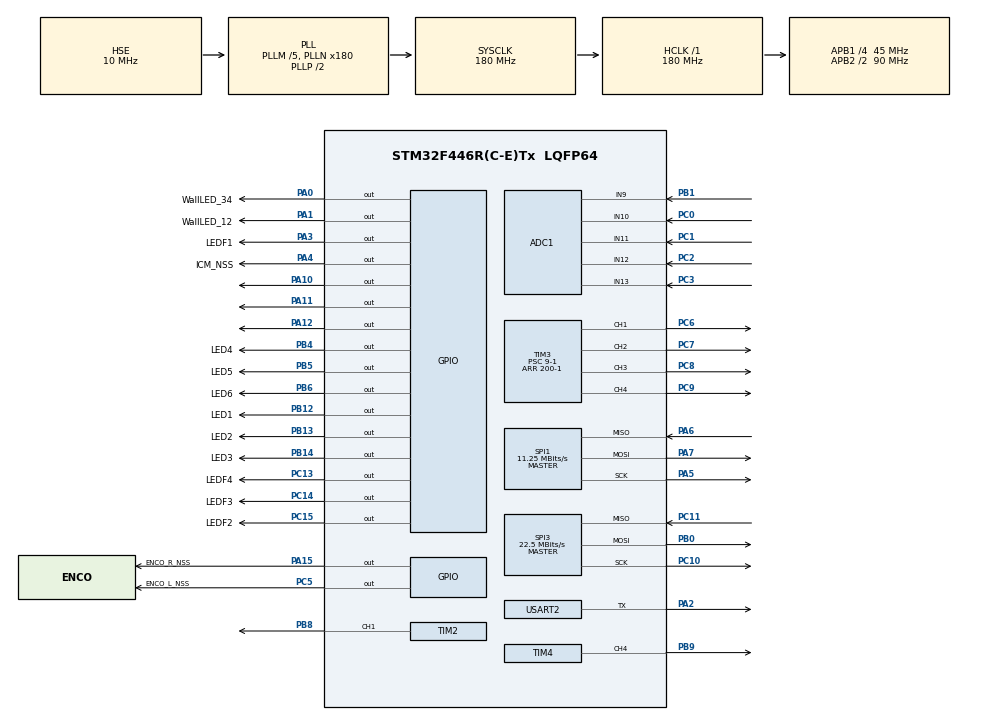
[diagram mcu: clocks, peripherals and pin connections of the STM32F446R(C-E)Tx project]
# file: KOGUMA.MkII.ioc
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ADC1.Channel-4\#ChannelRegularConversion=ADC_CHANNEL_9
ADC1.Channel-5\#ChannelRegularConversion=ADC_CHANNEL_10
ADC1.Channel-6\#ChannelRegularConversion=ADC_CHANNEL_11
ADC1.Channel-7\#ChannelRegularConversion=ADC_CHANNEL_12
ADC1.Channel-8\#ChannelRegularConversion=ADC_CHANNEL_13
ADC1.ClockPrescaler=ADC_CLOCK_SYNC_PCLK_DIV8
ADC1.ContinuousConvMode=ENABLE
ADC1.DMAContinuousRequests=ENABLE
ADC1.NbrOfConversion=5
ADC1.NbrOfConversionFlag=1
ADC1.Rank-4\#ChannelRegularConversion=1
ADC1.Rank-5\#ChannelRegularConversion=2
ADC1.Rank-6\#ChannelRegularConversion=3
ADC1.Rank-7\#ChannelRegularConversion=4
ADC1.Rank-8\#ChannelRegularConversion=5
ADC1.SamplingTime-4\#ChannelRegularConversion=ADC_SAMPLETIME_3CYCLES
ADC1.SamplingTime-5\#ChannelRegularConversion=ADC_SAMPLETIME_3CYCLES
ADC1.SamplingTime-6\#ChannelRegularConversion=ADC_SAMPLETIME_3CYCLES
ADC1.SamplingTime-7\#ChannelRegularConversion=ADC_SAMPLETIME_3CYCLES
ADC1.SamplingTime-8\#ChannelRegularConversion=ADC_SAMPLETIME_3CYCLES
ADC1.ScanConvMode=ENABLE
ADC1.master=1
Dma.ADC1.0.Direction=DMA_PERIPH_TO_MEMORY
Dma.ADC1.0.FIFOMode=DMA_FIFOMODE_DISABLE
Dma.ADC1.0.Instance=DMA2_Stream0
Dma.ADC1.0.MemDataAlignment=DMA_MDATAALIGN_HALFWORD
Dma.ADC1.0.MemInc=DMA_MINC_ENABLE
Dma.ADC1.0.Mode=DMA_NORMAL
Dma.ADC1.0.PeriphDataAlignment=DMA_PDATAALIGN_HALFWORD
Dma.ADC1.0.PeriphInc=DMA_PINC_DISABLE
Dma.ADC1.0.Priority=DMA_PRIORITY_LOW
Dma.Request0=ADC1
Mcu.Family=STM32F4
Mcu.Name=STM32F446R(C-E)Tx
Mcu.Package=LQFP64
NVIC.DMA2_Stream0_IRQn=true\:0\:0\:false\:false\:true\:false\:true\:true
NVIC.PriorityGroup=NVIC_PRIORITYGROUP_4
NVIC.TIM6_DAC_IRQn=true\:0\:0\:false\:false\:true\:true\:true\:true
PA0-WKUP.GPIO_Label=WallLED_34
PA0-WKUP.Signal=GPIO_Output
PA1.GPIO_Label=WallLED_12
PA1.Signal=GPIO_Output
PA10.Signal=GPIO_Output
PA11.Signal=GPIO_Output
PA12.Signal=GPIO_Output
PA13.Signal=SYS_JTMS-SWDIO
PA14.Signal=SYS_JTCK-SWCLK
PA15.GPIO_Label=ENCO_R_NSS
PA15.Signal=GPIO_Output
PA2.Mode=Half_duplex(single_wire_mode)
PA2.Signal=USART2_TX
PA3.GPIO_Label=LEDF1
PA3.Signal=GPIO_Output
PA4.GPIO_Label=ICM_NSS
PA4.Signal=GPIO_Output
PA5.Mode=Full_Duplex_Master
PA5.Signal=SPI1_SCK
PA6.Mode=Full_Duplex_Master
PA6.Signal=SPI1_MISO
PA7.Mode=Full_Duplex_Master
PA7.Signal=SPI1_MOSI
PB0.Mode=Full_Duplex_Master
PB0.Signal=SPI3_MOSI
PB1.Signal=ADCx_IN9
PB12.GPIO_Label=LED1
PB12.Signal=GPIO_Output
PB13.GPIO_Label=LED2
PB13.Signal=GPIO_Output
PB14.GPIO_Label=LED3
PB14.Signal=GPIO_Output
PB4.GPIO_Label=LED4
PB4.Signal=GPIO_Output
PB5.GPIO_Label=LED5
PB5.Signal=GPIO_Output
PB6.GPIO_Label=LED6
PB6.Signal=GPIO_Output
PB8.Signal=S_TIM2_CH1_ETR
PB9.Signal=S_TIM4_CH4
PC0.Signal=ADCx_IN10
PC1.Signal=ADCx_IN11
PC10.Mode=Full_Duplex_Master
PC10.Signal=SPI3_SCK
PC11.Mode=Full_Duplex_Master
PC11.Signal=SPI3_MISO
PC13.GPIO_Label=LEDF4
PC13.Signal=GPIO_Output
PC14-OSC32_IN.GPIO_Label=LEDF3
PC14-OSC32_IN.Signal=GPIO_Output
PC15-OSC32_OUT.GPIO_Label=LEDF2
PC15-OSC32_OUT.Signal=GPIO_Output
PC2.Signal=ADCx_IN12
PC3.Signal=ADCx_IN13
PC5.GPIO_Label=ENCO_L_NSS
PC5.Signal=GPIO_Output
PC6.Signal=S_TIM3_CH1
PC7.Signal=S_TIM3_CH2
PC8.Signal=S_TIM3_CH3
PC9.Signal=S_TIM3_CH4
PH0-OSC_IN.Mode=HSE-External-Oscillator
PH0-OSC_IN.Signal=RCC_OSC_IN
PH1-OSC_OUT.Mode=HSE-External-Oscillator
PH1-OSC_OUT.Signal=RCC_OSC_OUT
ProjectManager.HeapSize=0x200
ProjectManager.StackSize=0x400
ProjectManager.TargetToolchain=STM32CubeIDE
RCC.AHBFreq_Value=180000000
RCC.APB1CLKDivider=RCC_HCLK_DIV4
RCC.APB1Freq_Value=45000000
RCC.APB1TimFreq_Value=90000000
RCC.APB2CLKDivider=RCC_HCLK_DIV2
RCC.APB2Freq_Value=90000000
RCC.APB2TimFreq_Value=180000000
RCC.CortexFreq_Value=180000000
RCC.HCLKFreq_Value=180000000
RCC.HSE_VALUE=10000000
RCC.PLLM=5
RCC.PLLN=180
RCC.PLLSourceVirtual=RCC_PLLSOURCE_HSE
RCC.SYSCLKFreq_VALUE=180000000
RCC.SYSCLKSource=RCC_SYSCLKSOURCE_PLLCLK
RCC.USBFreq_Value=180000000
RCC.VCOOutputFreq_Value=360000000
SH.ADCx_IN10.0=ADC1_IN10,IN10
SH.ADCx_IN11.0=ADC1_IN11,IN11
SH.ADCx_IN12.0=ADC1_IN12,IN12
SH.ADCx_IN13.0=ADC1_IN13,IN13
SH.ADCx_IN9.0=ADC1_IN9,IN9
SH.S_TIM2_CH1_ETR.0=TIM2_CH1,PWM Generation1 CH1
SH.S_TIM3_CH1.0=TIM3_CH1,PWM Generation1 CH1
SH.S_TIM3_CH2.0=TIM3_CH2,PWM Generation2 CH2
SH.S_TIM3_CH3.0=TIM3_CH3,PWM Generation3 CH3
SH.S_TIM3_CH4.0=TIM3_CH4,PWM Generation4 CH4
SH.S_TIM4_CH4.0=TIM4_CH4,PWM Generation4 CH4
SPI1.BaudRatePrescaler=SPI_BAUDRATEPRESCALER_8
SPI1.CLKPhase=SPI_PHASE_2EDGE
SPI1.CLKPolarity=SPI_POLARITY_HIGH
SPI1.CalculateBaudRate=11.25 MBits/s
SPI1.Direction=SPI_DIRECTION_2LINES
SPI1.Mode=SPI_MODE_MASTER
SPI1.VirtualType=VM_MASTER
SPI3.CLKPhase=SPI_PHASE_2EDGE
SPI3.CLKPolarity=SPI_POLARITY_HIGH
SPI3.CalculateBaudRate=22.5 MBits/s
SPI3.Direction=SPI_DIRECTION_2LINES
SPI3.Mode=SPI_MODE_MASTER
SPI3.VirtualNSS=VM_NSSHARD
SPI3.VirtualType=VM_MASTER
TIM2.Channel-PWM\ Generation1\ CH1=TIM_CHANNEL_1
TIM2.Period=100-1
TIM2.Prescaler=180-1
TIM2.Pulse-PWM\ Generation1\ CH1=15
TIM3.Channel-PWM\ Generation1\ CH1=TIM_CHANNEL_1
TIM3.Channel-PWM\ Generation2\ CH2=TIM_CHANNEL_2
TIM3.Channel-PWM\ Generation3\ CH3=TIM_CHANNEL_3
TIM3.Channel-PWM\ Generation4\ CH4=TIM_CHANNEL_4
TIM3.Period=200-1
TIM3.Prescaler=9-1
TIM4.Channel-PWM\ Generation4\ CH4=TIM_CHANNEL_4
TIM4.Period=100-1
TIM4.Prescaler=90-1
TIM6.AutoReloadPreload=TIM_AUTORELOAD_PRELOAD_ENABLE
TIM6.Period=1000-1
TIM6.Prescaler=90-1
TIM6.TIM_MasterOutputTrigger=TIM_TRGO_UPDATE
USART2.Mode=MODE_TX
USART2.VirtualMode=VM_ASYNC
VP_TIM6_VS_ClockSourceINT.Mode=Enable_Timer
board=custom

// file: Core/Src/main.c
/* USER CODE BEGIN Header */
/**
 ******************************************************************************
 * @file           : main.c
 * @brief          : Main program body
 ******************************************************************************
 * @attention
 *
 * Copyright (c) 2025 STMicroelectronics.
 * All rights reserved.
 *
 * This software is licensed under terms that can be found in the LICENSE file
 * in the root directory of this software component.
 * If no LICENSE file comes with this software, it is provided AS-IS.
 *
 ******************************************************************************
 */
/* USER CODE END Header */
#include "main.h"
#include "adc.h"
#include "dma.h"
#include "spi.h"
#include "tim.h"
#include "usart.h"
#include "gpio.h"

/* USER CODE BEGIN Includes */
#include "lsm6dsr.h"
#include "motor.h"
#include "PL_encoder.h"
#include "PL_timer.h"
#include "Motor.h"
#include "LOG.h"
#include "PL_sensor.h"
#include "UI.h"
#include "Wallsensor.h"
#include "Maze.h"
#include "Move.h"
#include "Failsafe.h"
#include "Define.h"
/* USER CODE END Includes */

void SystemClock_Config(void);

int main(void) {

	/* MCU Configuration--------------------------------------------------------*/

	/* Reset of all peripherals, Initializes the Flash interface and the Systick. */
	HAL_Init();

	/* Configure the system clock */
	SystemClock_Config();

	/* Initialize all configured peripherals */
	MX_GPIO_Init();
	MX_DMA_Init();
	MX_ADC1_Init();
	MX_SPI1_Init();
	MX_SPI3_Init();
	MX_TIM2_Init();
	MX_TIM3_Init();
	MX_TIM4_Init();
	MX_USART2_UART_Init();
	MX_TIM6_Init();
	/* USER CODE BEGIN 2 */

	//HAL_TIM_Base_Start_IT(&htim6);
	pl_timer_init();
	lsm6dsr_init();
	Maze_Initialization();
	if (g_V_batt < LIMITBATT) {
		while (1) {
			LED_Reset();
			HAL_Delay(500);
			LED_ALL_ON();
			HAL_Delay(500);
		}
	}

	LED_Setup_Robot();

//
	HAL_TIM_PWM_Start(&htim4, TIM_CHANNEL_4); //buzeer
//
//	HAL_TIM_PWM_Start(&htim2, TIM_CHANNEL_1);

	/* USER CODE END 2 */

	/* Infinite loop */
	while (1) {

		/* USER CODE BEGIN 3 */

		LED_program_number(Encorder_number_out());
		LED_program_mode(Encorder_mode_out());
		Maze_Unkown_ALL_ModeOFF();
		Motor_Setup_Voltage();
		if (Encorder_mode_out() == 0) {		//大会用
			if (Encorder_number_out() == 0) {		//
				/////////////////////////////
			} else if (Encorder_number_out() == 1) {		//探索
				if (Sensor_Enter() == 1) {
					Buzzer_Enter();
					Sensor_Start();

					Motor_Setup();
					Motor_Stop();

					G_Gool_X = MAZE_GOOL_X;
					G_Gool_Y = MAZE_GOOL_Y;
					G_Robot_MAZE_X = 0;
					G_Robot_MAZE_Y = 0;
					G_Robot_Direction = 0;
					G_MAZE_Explored[G_Gool_X][G_Gool_Y] = 0;

					Motor_trapezoid_PID(0, 500, 500, 5000, 24 + 90);
					while (G_MAZE_Explored[G_Gool_X][G_Gool_Y] == 0) {
						if (Failsafe_Flag() == 1) {
							break;
						}
						Robot_Maze_Sula_Action();
						//Robot_Maze_Pass_Action();
						G_MAZE_Explored[G_Robot_MAZE_X][G_Robot_MAZE_Y] = 1;
					}
					Maze_Save();

					Maze_Unkown_ALL_ModeSet();

					G_Gool_X = 0;
					G_Gool_Y = 0;
					G_MAZE_Explored[G_Gool_X][G_Gool_Y] = 0;
					Maze_Step_Calculate();
					while (G_MAZE_Explored[G_Gool_X][G_Gool_Y] == 0) {
						if (Failsafe_Flag() == 1) {
							break;
						}
						Robot_Maze_Sula_Action();
						//Robot_Maze_Pass_Action();
						G_MAZE_Explored[G_Robot_MAZE_X][G_Robot_MAZE_Y] = 1;
					}
					Motor_Stop();
					if (Failsafe_Flag() == 0) {
						Maze_Save();
					} else {
						Failsafe_Flag_OFF();
					}
					Motor_Free();
					LED_Reset();
					Encorder_count_reset();

				}
			} else if (Encorder_number_out() == 2) {		//
				if (Sensor_Enter() == 1) {
					Buzzer_Enter();
					Sensor_Start();

					Motor_Setup();
					Motor_Stop();

					G_Gool_X = MAZE_GOOL_X;
					G_Gool_Y = MAZE_GOOL_Y;
					G_Robot_MAZE_X = 0;
					G_Robot_MAZE_Y = 0;
					G_Robot_Direction = 0;
					G_MAZE_Explored[G_Gool_X][G_Gool_Y] = 0;

					Motor_trapezoid_PID(0, 500, 500, 5000, 24 + 90);
					while (G_MAZE_Explored[G_Gool_X][G_Gool_Y] == 0) {
						if (Failsafe_Flag() == 1) {
							break;
						}
						Robot_Maze_Sula_Action();
						//Robot_Maze_Pass_Action();
						G_MAZE_Explored[G_Robot_MAZE_X][G_Robot_MAZE_Y] = 1;
					}
					Maze_Save();

					//Maze_Unkown_ALL_ModeSet();

					G_Gool_X = 0;
					G_Gool_Y = 0;
					G_MAZE_Explored[G_Gool_X][G_Gool_Y] = 0;
					Maze_Step_Calculate();
					while (G_MAZE_Explored[G_Gool_X][G_Gool_Y] == 0) {
						if (Failsafe_Flag() == 1) {
							break;
						}
						Robot_Maze_Sula_Action();
						//Robot_Maze_Pass_Action();
						G_MAZE_Explored[G_Robot_MAZE_X][G_Robot_MAZE_Y] = 1;
					}
					Motor_Stop();

					if (Failsafe_Flag() == 0) {
						Maze_Save();
					} else {
						Failsafe_Flag_OFF();
					}

					Motor_Setup();
					Motor_Stop();
					if (Failsafe_Flag() == 0) {
						Maze_Save();
					} else {
						Failsafe_Flag_OFF();
					}
					Motor_Free();
					LED_Reset();
					Encorder_count_reset();

//					Short_NANAME_Move1000(5000, 15000);
//
//					Motor_Free();
//					LED_Reset();
//					Encorder_count_reset();
				}
			} else if (Encorder_number_out() == 3) {		//1m吸?��?
				if (Sensor_Enter() == 1) {
					Buzzer_Enter();
					Sensor_Start();

					Motor_Setup();
					Motor_Stop();
					Short_NANAME_Move1000(5000, 15000);
					Motor_Free();
					LED_Reset();
					HAL_Delay(500);
					Encorder_count_reset();

				}
			} else if (Encorder_number_out() == 4) {		//
				if (Sensor_Enter() == 1) {
					Buzzer_Enter();
					Sensor_Start();

					Motor_Setup();
					Motor_Stop();
					Short_NANAME_Move2000(5000, 20000);
					Motor_Free();
					LED_Reset();
					HAL_Delay(500);
					Encorder_count_reset();
				}
			} else if (Encorder_number_out() == 5) {		//
				if (Sensor_Enter() == 1) {
					Buzzer_Enter();
					Sensor_Start();

					Motor_Setup();
					Motor_Stop();
					Short_NANAME_Move2000(5000, 25000);
					//Short_Dijkstra_Move2000(5500, 20000);
					Motor_Free();
					LED_Reset();
					HAL_Delay(500);
					Encorder_count_reset();
				}
			} else if (Encorder_number_out() == 6) {		//
				if (Sensor_Enter() == 1) {
					Buzzer_Enter();
					Sensor_Start();

					Motor_Setup();
					Motor_Stop();
					Short_NANAME_Move2400(5000, 20000);
					Motor_Free();
					LED_Reset();
					HAL_Delay(500);
					Encorder_count_reset();
				}
			} else if (Encorder_number_out() == 7) {		//
				if (Sensor_Enter() == 1) {
					Buzzer_Enter();
					Sensor_Start();

					Motor_Setup();
					Motor_Stop();
					Short_NANAME_Move2400(5000, 30000);
					Motor_Free();
					LED_Reset();
					HAL_Delay(500);
					Encorder_count_reset();
				}
			}
		} else if (Encorder_mode_out() == 1) {				//基本調整
			if (Encorder_number_out() == 0) {		//センサ
				Wall_search_LED();
//				__HAL_TIM_SET_COMPARE(&htim2, TIM_CHANNEL_1, 50);
//				__HAL_TIM_SET_AUTORELOAD(&htim2, 100);
//				HAL_TIM_PWM_Start(&htim2, TIM_CHANNEL_1);
//				printf("FL = %4d //", g_sensor_av[0]);
//				printf(" L = %4d //", g_sensor_av[2]);
//				printf(" R = %4d //", g_sensor_av[1]);
//				printf("FR = %4d //", g_sensor_av[3]);
				printf("FL = %4d //", g_sensor[0][0]);
				printf(" L = %4d //", g_sensor[2][0]);
				printf(" R = %4d //", g_sensor[1][0]);
				printf("FR = %4d //", g_sensor[3][0]);
				printf("BATT = %.2f//", g_V_batt);
				printf("GyroZ = %.3f\n\r", read_NoiseCut_gyro_z());
			} else if (Encorder_number_out() == 1) {		//直進
				if (Sensor_Enter() == 1) {
					Buzzer_Enter();
					Sensor_Start();
					///
					Motor_Setup();
					//Suction_Start(50);
					LOG_get_start();
//					Motor_trapezoid_PID(0, 2000, 2000, 60000, 24);
//					Motor_trapezoid_PID(2000, 2000, 0, 35000, 90);
					Motor_trapezoid_PID(0, 1000, 0, 8000, 180 * 15);
					Motor_Stop();
					Suction_Stop();
					LOG_get_end();
					///
					//Motor_trapezoid_PID(0, 6000, 0, 50000, 180 * 4);
					Encorder_count_reset();
				}
			} else if (Encorder_number_out() == 2) {		//??��?��?シン??��?��?
				if (Sensor_Enter() == 1) {
					Buzzer_Enter();
					Sensor_Start();
					///
					Motor_Setup();
//					for (int i = 0; i < 20; i++) {
//						Motor_trapezoid_Turn(90, 600, 20000);
//						Motor_Stop();
//					}
					Motor_trapezoid_Turn(3600, 600, 20000);
					///

					Encorder_count_reset();
				}
			} else if (Encorder_number_out() == 3) {		//スラロー??��?��?
				if (Sensor_Enter() == 1) {
					Buzzer_Enter();
					Sensor_Start();
					//
					Motor_Setup();
					Motor_trapezoid_PID(0, 500, 500, 5000, 90 + 180 + 29);
					Motor_Sula_COS(500, 90, 600, 10000);
					Motor_trapezoid(500, 500, 0, 5000, 180 + 20);
					Motor_Stop();
					//
					Encorder_count_reset();
				}
			} else if (Encorder_number_out() == 4) {		//斜め
				if (Sensor_Enter() == 1) {
					Buzzer_Enter();
					Sensor_Start();

					Motor_Setup();
					Motor_NANAME_PID(0, 2000, 0, 5000, 127.3 * 6);
					Motor_Stop();

					Encorder_count_reset();
				}
			} else if (Encorder_number_out() == 5) {		//吸??��?��?
				if (Sensor_Enter() == 1) {
					Buzzer_Enter();
					Sensor_Start();
					__HAL_TIM_SET_COMPARE(&htim2, TIM_CHANNEL_1, 90);
					__HAL_TIM_SET_AUTORELOAD(&htim2, 100);
					HAL_TIM_PWM_Start(&htim2, TIM_CHANNEL_1);
					while (1) {
						if (Sensor_Enter() == 1) {
							break;
						}
					}
					HAL_TIM_PWM_Stop(&htim2, TIM_CHANNEL_1);

				}
			} else if (Encorder_number_out() == 6) {		//壁合わせ
				if (Sensor_Enter() == 1) {
					Buzzer_Enter();
					Sensor_Start();

					Motor_Setup();
					Motor_Robot_Alignment();
					Motor_Stop();

					Encorder_count_reset();
				}
			} else if (Encorder_number_out() == 7) {		//
				if (Sensor_Enter() == 1) {
					Buzzer_Enter();
					Sensor_Start();

					LOG_print();
					HAL_Delay(1000);

				}
			}
		} else if (Encorder_mode_out() == 2) {			//1m??��?��?低吸??��?��?
			if (Encorder_number_out() == 1) {		//90
				if (Sensor_Enter() == 1) {
					Buzzer_Enter();
					Sensor_Start();

					Motor_Setup();
					Suction_Start(15);

					HAL_Delay(1000);
					LOG_get_start();
					Motor_trapezoid_PID(0, 1000, 1000, 15000, 90 + 90);
					//Motor_trapezoid_PID(1000, 1000, 1000, 15000, 50);
					Motor_Wallcut_ST(1000, 48, 0);
					Motor_Sula_COS(1000, 88, 600, 10000);
					Motor_trapezoid(1000, 1000, 1000, 15000, 35);
					Motor_trapezoid(1000, 1000, 0, 15000, 180);

					Motor_Stop();

					HAL_Delay(500);
					Suction_Stop();
					LOG_get_end();

					Encorder_count_reset();

				}
			} else if (Encorder_number_out() == 2) {		//180
				if (Sensor_Enter() == 1) {
					Buzzer_Enter();
					Sensor_Start();

					Motor_Setup();
					Suction_Start(15);

					HAL_Delay(1000);
					LOG_get_start();
					Motor_trapezoid_PID(0, 1000, 1000, 15000, 90 + 90);
					Motor_trapezoid_PID(1000, 1000, 1000, 15000, 60);
					//Motor_Wallcut_ST(1000, 60, 0);
					Motor_Sula_COS(1000, 179, 650, 13000);
					Motor_trapezoid(1000, 1000, 1000, 15000, 40);
					Motor_trapezoid(1000, 1000, 0, 15000, 180);

					Motor_Stop();
					HAL_Delay(500);
					Suction_Stop();
					LOG_get_end();

					Encorder_count_reset();
				}
			} else if (Encorder_number_out() == 3) {		//in45
				if (Sensor_Enter() == 1) {
					Buzzer_Enter();
					Sensor_Start();

					Motor_Setup();
					Suction_Start(15);

					HAL_Delay(1000);
					LOG_get_start();
					Motor_trapezoid_PID(0, 1000, 1000, 15000, 90 + 90);
					Motor_trapezoid_PID(1000, 1000, 1000, 15000, 15);
					Motor_Sula_COS(1000, 44, 750, 10000);
					Motor_trapezoid(1000, 1000, 1000, 15000, 42);
					Motor_trapezoid(1000, 1000, 0, 15000, 127.3);

					Motor_Stop();
					HAL_Delay(500);
					Suction_Stop();
					LOG_get_end();

					Encorder_count_reset();
				}
			} else if (Encorder_number_out() == 4) {		//in135
				if (Sensor_Enter() == 1) {
					Buzzer_Enter();
					Sensor_Start();

					Motor_Setup();
					Suction_Start(15);

					HAL_Delay(1000);
					LOG_get_start();
					Motor_trapezoid_PID(0, 1000, 1000, 15000, 90 + 90);
					Motor_trapezoid_PID(1000, 1000, 1000, 15000, 38);
					Motor_Sula_COS(1000, 134, 800, 10000);
					Motor_trapezoid(1000, 1000, 1000, 15000, 8);
					Motor_trapezoid(1000, 1000, 0, 15000, 127.3);

					Motor_Stop();
					HAL_Delay(500);
					Suction_Stop();
					LOG_get_end();

					Encorder_count_reset();
				}
			} else if (Encorder_number_out() == 5) {		//out45
				if (Sensor_Enter() == 1) {
					Buzzer_Enter();
					Sensor_Start();

					Motor_Setup();
					Suction_Start(15);

					HAL_Delay(1000);
					LOG_get_start();
					Motor_trapezoid(0, 1000, 1000, 10000, 127.3);
					Motor_trapezoid(1000, 1000, 1000, 5000, 73);
					Motor_Sula_COS(1000, 41.5, 700, 20000);
					Motor_trapezoid(1000, 1000, 1000, 5000, 30);
					Motor_trapezoid(1000, 1000, 0, 10000, 180);

					Motor_Stop();
					HAL_Delay(500);
					Suction_Stop();
					LOG_get_end();

					Encorder_count_reset();
				}
			} else if (Encorder_number_out() == 6) {		//out135
				if (Sensor_Enter() == 1) {
					Buzzer_Enter();
					Sensor_Start();

					Motor_Setup();
					Suction_Start(15);

					HAL_Delay(1000);
					LOG_get_start();
					Motor_trapezoid(0, 1000, 1000, 10000, 127.3);
					Motor_trapezoid(1000, 1000, 1000, 5000, 25);
					Motor_Sula_COS(1000, 132, 700, 14000);
					Motor_trapezoid(1000, 1000, 1000, 5000, 25);
					Motor_trapezoid(1000, 1000, 0, 10000, 180);

					Motor_Stop();
					HAL_Delay(500);
					Suction_Stop();
					LOG_get_end();

					Encorder_count_reset();
				}
			} else if (Encorder_number_out() == 7) {		//V90
				if (Sensor_Enter() == 1) {
					Buzzer_Enter();
					Sensor_Start();

					Motor_Setup();
					Suction_Start(15);

					HAL_Delay(1000);
					LOG_get_start();
					Motor_trapezoid(0, 1000, 1000, 10000, 127.3);
					Motor_trapezoid(1000, 1000, 1000, 5000, 37);
					Motor_Sula_COS(1000, 88.5, 800, 20000);
					Motor_trapezoid(1000, 1000, 1000, 5000, 27);
					Motor_trapezoid(1000, 1000, 0, 10000, 127.3);

					Motor_Stop();
					HAL_Delay(500);
					Suction_Stop();
					LOG_get_end();

					Encorder_count_reset();
				}
			} else if (Encorder_number_out() == 0) {		//
				if (Sensor_Enter() == 1) {
					Buzzer_Enter();
					Sensor_Start();
				}
			}
		} else if (Encorder_mode_out() == 3) {				//2m 吸??��?��?
			if (Encorder_number_out() == 0) {		//
				if (Sensor_Enter() == 1) {
					Buzzer_Enter();
					Sensor_Start();

					Motor_Setup();
					Suction_Start(50);

					HAL_Delay(1000);
					LOG_get_start();
					Motor_trapezoid_PID(0, 6000, 0, 40000, 180 * 6);

					Motor_Stop();

					HAL_Delay(500);
					Suction_Stop();
					LOG_get_end();

					Encorder_count_reset();
				}
			} else if (Encorder_number_out() == 1) {		//90
				if (Sensor_Enter() == 1) {
					Buzzer_Enter();
					Sensor_Start();

					Motor_Setup();
					Suction_Start(50);

					HAL_Delay(1000);
					LOG_get_start();
					Motor_trapezoid_PID(0, 2000, 2000, 20000, 90 + 90);
					Motor_trapezoid_PID(2000, 2000, 2000, 15000, 15);
					//Motor_Wallcut_ST(2000, 50, 0);
					Motor_Sula_COS(2000, 88.5, 1200, 30000);
					Motor_trapezoid(2000, 2000, 2000, 15000, 35);
					Motor_trapezoid(2000, 2000, 0, 20000, 180);

					Motor_Stop();

					HAL_Delay(500);
					Suction_Stop();
					LOG_get_end();

					Encorder_count_reset();
				}
			} else if (Encorder_number_out() == 2) {		//180
				if (Sensor_Enter() == 1) {
					Buzzer_Enter();
					Sensor_Start();

					Motor_Setup();
					Suction_Start(50);

					HAL_Delay(1000);
					LOG_get_start();
					Motor_trapezoid_PID(0, 2000, 2000, 20000, 90 + 90);
					Motor_trapezoid_PID(2000, 2000, 2000, 15000, 30);
					//Motor_Wallcut_ST(1000, 60, 0);
					Motor_Sula_COS(2000, 178, 1280, 30000);
					Motor_trapezoid(2000, 2000, 2000, 15000, 60);
					Motor_trapezoid(2000, 2000, 0, 20000, 180);

					Motor_Stop();

					HAL_Delay(500);
					Suction_Stop();
					LOG_get_end();

					Encorder_count_reset();
				}
			} else if (Encorder_number_out() == 3) {		//in45
				if (Sensor_Enter() == 1) {
					Buzzer_Enter();
					Sensor_Start();

					Motor_Setup();
					Suction_Start(50);

					HAL_Delay(1000);
					LOG_get_start();
					Motor_trapezoid_PID(0, 2000, 2000, 20000, 90 + 90);
					Motor_trapezoid_PID(2000, 2000, 2000, 15000, 8);
					//Motor_Wallcut_ST(1000, 60, 0);
					Motor_Sula_COS(2000, 43, 1600, 55000);
					Motor_trapezoid(2000, 2000, 2000, 15000, 55);
					Motor_trapezoid(2000, 2000, 0, 20000, 127.3);

					Motor_Stop();

					HAL_Delay(500);
					Suction_Stop();
					LOG_get_end();

					Encorder_count_reset();
				}
			} else if (Encorder_number_out() == 4) {		//in135
				if (Sensor_Enter() == 1) {
					Buzzer_Enter();
					Sensor_Start();

					Motor_Setup();
					Suction_Start(50);

					HAL_Delay(1000);
					LOG_get_start();
					Motor_trapezoid_PID(0, 2000, 2000, 20000, 90 + 90);
					Motor_trapezoid_PID(2000, 2000, 2000, 15000, 10);
					//Motor_Wallcut_ST(1000, 60, 0);
					Motor_Sula_COS(2000, 134, 1300, 50000);
					Motor_trapezoid(2000, 2000, 2000, 15000, 9);
					Motor_trapezoid(2000, 2000, 0, 20000, 127.3);

					Motor_Stop();

					HAL_Delay(500);
					Suction_Stop();
					LOG_get_end();

					Encorder_count_reset();
				}
			} else if (Encorder_number_out() == 5) {		//out45
				if (Sensor_Enter() == 1) {
					Buzzer_Enter();
					Sensor_Start();

					Motor_Setup();
					Suction_Start(50);

					HAL_Delay(1000);
					LOG_get_start();
					Motor_trapezoid(0, 2000, 2000, 20000, 127.3);
					Motor_trapezoid(2000, 2000, 2000, 15000, 22);
					//Motor_Wallcut_ST(1000, 60, 0);
					Motor_Sula_COS(2000, 42, 1500, 40000);
					Motor_trapezoid(2000, 2000, 2000, 15000, 21);
					Motor_trapezoid(2000, 2000, 0, 20000, 180);

					Motor_Stop();

					HAL_Delay(500);
					Suction_Stop();
					LOG_get_end();

					Encorder_count_reset();
				}
			} else if (Encorder_number_out() == 6) {		//out135
				if (Sensor_Enter() == 1) {
					Buzzer_Enter();
					Sensor_Start();

					Motor_Setup();
					Suction_Start(50);

					HAL_Delay(1000);
					LOG_get_start();
					Motor_trapezoid(0, 2000, 2000, 20000, 127.3);
					Motor_trapezoid(2000, 2000, 2000, 15000, 8);
					//Motor_Wallcut_ST(1000, 60, 0);
					Motor_Sula_COS(2000, 131.5, 1700, 50000);
					Motor_trapezoid(2000, 2000, 2000, 15000, 70);
					Motor_trapezoid(2000, 2000, 0, 20000, 180);

					Motor_Stop();

					HAL_Delay(500);
					Suction_Stop();
					LOG_get_end();

					Encorder_count_reset();
				}
			} else if (Encorder_number_out() == 7) {		//V90
				if (Sensor_Enter() == 1) {
					Buzzer_Enter();
					Sensor_Start();

					Motor_Setup();
					Suction_Start(50);

					HAL_Delay(1000);
					LOG_get_start();
					Motor_trapezoid(0, 2000, 2000, 20000, 127.3);
					Motor_trapezoid(2000, 2000, 2000, 15000, 7);
					//Motor_Wallcut_ST(1000, 60, 0);
					Motor_Sula_COS(2000, 84, 2000, 80000);
					Motor_trapezoid(2000, 2000, 2000, 15000, 35);
					Motor_trapezoid(2000, 2000, 0, 20000, 127.3);

					Motor_Stop();

					HAL_Delay(500);
					Suction_Stop();
					LOG_get_end();

					Encorder_count_reset();
				}
			}
		} else if (Encorder_mode_out() == 4) {				//2.4m吸??��?��?
			if (Encorder_number_out() == 0) {		//
				if (Sensor_Enter() == 1) {
					Buzzer_Enter();
					Sensor_Start();

				}
			} else if (Encorder_number_out() == 1) {		//90
				if (Sensor_Enter() == 1) {
					Buzzer_Enter();
					Sensor_Start();

					Motor_Setup();
					Suction_Start(70);

					HAL_Delay(1000);
					LOG_get_start();
					Motor_trapezoid_PID(0, 2400, 2400, 25000, 90 + 90);
					Motor_trapezoid_PID(2400, 2400, 2400, 15000, 24);
					//Motor_Wallcut_ST(1000, 60, 0);
					Motor_Sula_COS(2400, 87, 1700, 50000);
					Motor_trapezoid(2400, 2400, 2400, 15000, 56);
					Motor_trapezoid(2400, 2400, 0, 25000, 180);

					Motor_Stop();

					HAL_Delay(500);
					Suction_Stop();
					LOG_get_end();

					Encorder_count_reset();
				}
			} else if (Encorder_number_out() == 2) {		//180
				if (Sensor_Enter() == 1) {
					Buzzer_Enter();
					Sensor_Start();

					Motor_Setup();
					Suction_Start(70);

					HAL_Delay(1000);
					LOG_get_start();
					Motor_trapezoid_PID(0, 2400, 2400, 25000, 90 + 90);
					Motor_trapezoid_PID(2400, 2400, 2400, 15000, 15);
					//Motor_Wallcut_ST(1000, 60, 0);
					Motor_Sula_COS(2400, 177, 1550, 50300);
					Motor_trapezoid(2400, 2400, 2400, 15000, 47);
					Motor_trapezoid(2400, 2400, 0, 25000, 180);

					Motor_Stop();

					HAL_Delay(500);
					Suction_Stop();
					LOG_get_end();

					Encorder_count_reset();
				}
			} else if (Encorder_number_out() == 3) {		//in45
				if (Sensor_Enter() == 1) {
					Buzzer_Enter();
					Sensor_Start();

					Motor_Setup();
					Suction_Start(70);

					HAL_Delay(1000);
					LOG_get_start();
					Motor_trapezoid_PID(0, 2400, 2400, 25000, 90 + 90);
					Motor_trapezoid_PID(2400, 2400, 2400, 15000, 5);
					Motor_Sula_COS(2400, 42.5, 2050, 70000);
					Motor_trapezoid(2400, 2400, 2400, 15000, 41);
					Motor_trapezoid(2400, 2400, 0, 25000, 127.3);

					Motor_Stop();

					HAL_Delay(500);
					Suction_Stop();
					LOG_get_end();

					Encorder_count_reset();
				}
			} else if (Encorder_number_out() == 4) {		//in135
				if (Sensor_Enter() == 1) {
					Buzzer_Enter();
					Sensor_Start();

					Motor_Setup();
					Suction_Start(70);

					HAL_Delay(1000);
					LOG_get_start();
					Motor_trapezoid_PID(0, 2400, 2400, 25000, 90 + 90);
					Motor_trapezoid_PID(2400, 2400, 2400, 15000, 28);
					Motor_Sula_COS(2400, 130, 2200, 60000);
					Motor_trapezoid(2400, 2400, 2400, 15000, 33);
					Motor_trapezoid(2400, 2400, 0, 25000, 127.3);

					Motor_Stop();

					HAL_Delay(500);
					Suction_Stop();
					LOG_get_end();

					Encorder_count_reset();
				}
			} else if (Encorder_number_out() == 5) {		//out45
				if (Sensor_Enter() == 1) {
					Buzzer_Enter();
					Sensor_Start();

					Motor_Setup();
					Suction_Start(70);

					HAL_Delay(1000);
					LOG_get_start();

//					Motor_trapezoid(0, 2400, 2400, 25000, 127.3);
//					Motor_trapezoid(2400, 2400, 2400, 15000, 31);
//					Motor_Sula_COS(2400, 41, 1550, 60000);
//					Motor_trapezoid(2400, 2400, 2400, 15000, 18);
//					Motor_trapezoid(2400, 2400, 0, 25000, 180);

					Motor_trapezoid_PID(0, 2400, 2400, 25000, 90 + 90);
					Motor_trapezoid_PID(2400, 2400, 2400, 15000, 5);
					Motor_Sula_COS(2400, 42.5, 2050, 70000);
					Motor_trapezoid(2400, 2400, 2400, 15000, 41);
					Motor_NANAME_PID(2400, 2400, 2400, 30000, 127.3);

					Motor_trapezoid(2400, 2400, 2400, 15000, 35);
					Motor_Sula_COS(2400, 41, 1550, 60000);
					Motor_trapezoid(2400, 2400, 2400, 15000, 43);
					Motor_trapezoid(2400, 2400, 0, 25000, 180);

					Motor_Stop();

					HAL_Delay(500);
					Suction_Stop();
					LOG_get_end();

					Encorder_count_reset();
				}
			} else if (Encorder_number_out() == 6) {		//out135
				if (Sensor_Enter() == 1) {
					Buzzer_Enter();
					Sensor_Start();

					Motor_Setup();
					Suction_Start(70);

//					HAL_Delay(1000);
//					LOG_get_start();
//					Motor_NANAME_PID(0, 2400, 2400, 30000, 127.3);
//					Motor_NANAME_PID(2400, 2400, 2400, 15000, 20);
//					Motor_Sula_COS(2400, 123, 2300, 70000);
//					Motor_trapezoid(2400, 2400, 2400, 15000, 80);
//					Motor_trapezoid(2400, 2400, 0, 30000, 180);

					Motor_trapezoid_PID(0, 2400, 2400, 25000, 90 + 90);
					Motor_trapezoid_PID(2400, 2400, 2400, 15000, 5);
					Motor_Sula_COS(2400, 42.5, 2050, 70000);
					Motor_trapezoid(2400, 2400, 2400, 15000, 41);
					Motor_NANAME_PID(2400, 2400, 2400, 30000, 127.3);

					Motor_NANAME_PID(2400, 2400, 2400, 15000, 11);
					Motor_Sula_COS(2400, 125, 2300, 70000);
					Motor_trapezoid(2400, 2400, 2400, 15000, 80);
					Motor_trapezoid(2400, 2400, 0, 30000, 180);

					Motor_Stop();

					HAL_Delay(500);
					Suction_Stop();
					LOG_get_end();

					Encorder_count_reset();
				}
			} else if (Encorder_number_out() == 7) {		//v90
				if (Sensor_Enter() == 1) {
					Buzzer_Enter();
					Sensor_Start();

					Motor_Setup();
					Suction_Start(70);

					HAL_Delay(1000);
					LOG_get_start();
//					Motor_trapezoid(0, 2400, 2400, 40000, 127.3);
//					Motor_trapezoid(2400, 2400, 2400, 15000, 19);
//					Motor_Sula_COS(2400, 83, 2500, 100000);
//					Motor_trapezoid(2400, 2400, 2400, 15000, 29);
//					Motor_trapezoid(2400, 2400, 0, 25000, 127.3);

					Motor_trapezoid_PID(0, 2400, 2400, 25000, 90 + 90);
					Motor_trapezoid_PID(2400, 2400, 2400, 15000, 5);
					Motor_Sula_COS(2400, 42.5, 2050, 70000);
					Motor_trapezoid(2400, 2400, 2400, 15000, 41);
					Motor_NANAME_PID(2400, 2400, 2400, 30000, 127.3);

					Motor_trapezoid(2400, 2400, 2400, 15000, 17);
					Motor_Sula_COS(2400, 83, 2500, 100000);
					Motor_trapezoid(2400, 2400, 2400, 15000, 29);
					Motor_trapezoid(2400, 2400, 0, 25000, 127.3);

					Motor_Stop();

					HAL_Delay(500);
					Suction_Stop();
					LOG_get_end();

					Encorder_count_reset();
				}
			}
		} else if (Encorder_mode_out() == 5) {				//2.7m吸??��?��?
			if (Encorder_number_out() == 0) {		//
				if (Sensor_Enter() == 1) {
					Buzzer_Enter();
					Sensor_Start();
				}
			} else if (Encorder_number_out() == 1) {		//
				if (Sensor_Enter() == 1) {
					Buzzer_Enter();
					Sensor_Start();

					Motor_Setup();
					Suction_Start(80);

					HAL_Delay(1000);
					LOG_get_start();
					Motor_trapezoid_PID(0, 2700, 2700, 20000, 180 + 90 + 90);
					Motor_trapezoid_PID(2700, 2700, 2700, 15000, 18);
					//Motor_Wallcut_ST(2000, 50, 0);
					Motor_Sula_COS(2700, 88, 2300, 70000);
					Motor_trapezoid(2700, 2700, 2700, 15000, 73);
					Motor_trapezoid(2700, 2700, 0, 20000, 270);

					Motor_Stop();

					HAL_Delay(500);
					Suction_Stop();
					LOG_get_end();

					Encorder_count_reset();
				}
			} else if (Encorder_number_out() == 2) {		//
				if (Sensor_Enter() == 1) {
					Buzzer_Enter();
					Sensor_Start();
				}
			} else if (Encorder_number_out() == 3) {		//
				if (Sensor_Enter() == 1) {
					Buzzer_Enter();
					Sensor_Start();
				}
			} else if (Encorder_number_out() == 4) {		//
				if (Sensor_Enter() == 1) {
					Buzzer_Enter();
					Sensor_Start();
				}
			} else if (Encorder_number_out() == 5) {		//
				if (Sensor_Enter() == 1) {
					Buzzer_Enter();
					Sensor_Start();
				}
			} else if (Encorder_number_out() == 6) {		//
				if (Sensor_Enter() == 1) {
					Buzzer_Enter();
					Sensor_Start();
				}
			} else if (Encorder_number_out() == 7) {		//
				if (Sensor_Enter() == 1) {
					Buzzer_Enter();
					Sensor_Start();
				}
			}
		} else if (Encorder_mode_out() == 6) {				//3m吸??��?��?
			if (Encorder_number_out() == 0) {		//
				if (Sensor_Enter() == 1) {
					Buzzer_Enter();
					Sensor_Start();
				}
			} else if (Encorder_number_out() == 1) {		//
				if (Sensor_Enter() == 1) {
					Buzzer_Enter();
					Sensor_Start();

					Motor_Setup();
					Suction_Start(90);

					HAL_Delay(1000);
					LOG_get_start();
					Motor_trapezoid_PID(0, 3000, 3000, 20000, 180 + 90 + 90);
					Motor_trapezoid_PID(3000, 3000, 3000, 15000, 5);
					//Motor_Wallcut_ST(2000, 50, 0);
					Motor_Sula_COS(3000, 87.5, 2500, 80000);
					Motor_trapezoid(3000, 3000, 3000, 15000, 85);
					Motor_trapezoid(3000, 3000, 0, 25000, 270);

					Motor_Stop();

					HAL_Delay(500);
					Suction_Stop();
					LOG_get_end();

					Encorder_count_reset();
				}
			} else if (Encorder_number_out() == 2) {		//
				if (Sensor_Enter() == 1) {
					Buzzer_Enter();
					Sensor_Start();
				}
			} else if (Encorder_number_out() == 3) {		//
				if (Sensor_Enter() == 1) {
					Buzzer_Enter();
					Sensor_Start();
				}
			} else if (Encorder_number_out() == 4) {		//
				if (Sensor_Enter() == 1) {
					Buzzer_Enter();
					Sensor_Start();
				}
			} else if (Encorder_number_out() == 5) {		//
				if (Sensor_Enter() == 1) {
					Buzzer_Enter();
					Sensor_Start();
				}
			} else if (Encorder_number_out() == 6) {		//
				if (Sensor_Enter() == 1) {
					Buzzer_Enter();
					Sensor_Start();
				}
			} else if (Encorder_number_out() == 7) {		//
				if (Sensor_Enter() == 1) {
					Buzzer_Enter();
					Sensor_Start();
				}
			}
		} else if (Encorder_mode_out() == 7) {			//サーキ??��?��???��?��?
			if (Encorder_number_out() == 0) {		//
				if (Sensor_Enter() == 1) {
					Buzzer_Enter();
					Sensor_Start();

				}
			} else if (Encorder_number_out() == 1) {		//2000
				if (Sensor_Enter() == 1) {
					Buzzer_Enter();
					Sensor_Start();

					HAL_Delay(1000);
					Suction_Start(50);
					Motor_Setup();
					HAL_Delay(1000);

					Motor_trapezoid_PID(0, 2000, 2000, 20000, 24);
					Suction_change(30);
					Motor_trapezoid_PID(2000, 5000, 2000, 20000, 180 * 14);
					for (int i = 0; i < 7; i++) {
						Suction_change(50);
						Motor_Wallcut_ST(2000, 15, 1);
						Motor_Sula_COS(2000, -88.5, 1200, 30000);
						Motor_Wallcut_END(2000, 35, 1);
						Suction_change(30);

						Motor_trapezoid_PID(2000, 5000, 2000, 20000, 180 * 13);
					}
					Suction_change(50);
					Motor_Wallcut_ST(2000, 15, 1);
					Motor_Sula_COS(2000, -88.5, 1200, 30000);
					Motor_Wallcut_END(2000, 35, 1);
					Suction_change(30);
					Motor_trapezoid_PID(2000, 2000, 0, 20000, 180 * 3);
					Motor_Stop();
					Suction_Stop();
					Motor_Stop();
					Motor_Stop();
					HAL_Delay(1000);
				}
			} else if (Encorder_number_out() == 2) {		//2000
				if (Sensor_Enter() == 1) {
					Buzzer_Enter();
					Sensor_Start();

					HAL_Delay(1000);
					Suction_Start(50);
					Motor_Setup();
					HAL_Delay(1000);

					Motor_trapezoid_PID(0, 2000, 2000, 20000, 24);
					Suction_change(30);
					Motor_trapezoid_PID(2000, 5000, 2000, 30000, 180 * 14);
					for (int i = 0; i < 7; i++) {
						Suction_change(50);
						Motor_Wallcut_ST(2000, 15, 1);
						Motor_Sula_COS(2000, -88.5, 1200, 30000);
						Motor_Wallcut_END(2000, 35, 1);
						Suction_change(30);

						Motor_trapezoid_PID(2000, 5000, 2000, 30000, 180 * 13);
					}
					Suction_change(50);
					Motor_Wallcut_ST(2000, 15, 1);
					Motor_Sula_COS(2000, -88.5, 1200, 30000);
					Motor_Wallcut_END(2000, 35, 1);
					Suction_change(30);
					Motor_trapezoid_PID(2000, 2000, 0, 20000, 180 * 3);
					Motor_Stop();
					Suction_Stop();
					Motor_Stop();
					Motor_Stop();
					HAL_Delay(1000);
				}
			} else if (Encorder_number_out() == 3) {		//2400
				if (Sensor_Enter() == 1) {
					Buzzer_Enter();
					Sensor_Start();

					HAL_Delay(1000);
					Suction_Start(70);
					Motor_Setup();
					HAL_Delay(1000);

					Motor_trapezoid_PID(0, 1500, 1500, 20000, 24);
					Suction_change(40);
					Motor_trapezoid_PID(1500, 5500, 2400, 20000, 180 * 14);
					for (int i = 0; i < 7; i++) {
						Suction_change(70);
						Motor_Wallcut_ST(2400, 24, 1);
						Motor_Sula_COS(2400, -87, 1700, 50000);
						Motor_Wallcut_END(2400, 56, 1);
						Suction_change(40);

						Motor_trapezoid_PID(2400, 5500, 2400, 20000, 180 * 13);
					}
					Suction_change(70);
					Motor_Wallcut_ST(2400, 24, 1);
					Motor_Sula_COS(2400, -87, 1700, 50000);
					Motor_Wallcut_END(2400, 56, 1);
					Suction_change(30);
					Motor_trapezoid_PID(2400, 2400, 0, 20000, 180 * 3);
					Motor_Stop();
					Suction_Stop();
					Motor_Stop();
					Motor_Stop();
					HAL_Delay(1000);
				}
			} else if (Encorder_number_out() == 4) {		//2400
				if (Sensor_Enter() == 1) {
					Buzzer_Enter();
					Sensor_Start();

					HAL_Delay(1000);
					Suction_Start(70);
					Motor_Setup();
					HAL_Delay(1000);

					Motor_trapezoid_PID(0, 1500, 1500, 20000, 24);
					Suction_change(40);
					Motor_trapezoid_PID(1500, 5500, 2400, 25000, 180 * 14);
					for (int i = 0; i < 7; i++) {
						Suction_change(70);
						Motor_Wallcut_ST(2400, 24, 1);
						Motor_Sula_COS(2400, -87, 1700, 50000);
						Motor_Wallcut_END(2400, 56, 1);
						Suction_change(40);

						Motor_trapezoid_PID(2400, 5500, 2400, 25000, 180 * 13);
					}
					Suction_change(70);
					Motor_Wallcut_ST(2400, 24, 1);
					Motor_Sula_COS(2400, -87, 1700, 50000);
					Motor_Wallcut_END(2400, 56, 1);
					Suction_change(30);
					Motor_trapezoid_PID(2400, 2400, 0, 25000, 180 * 3);
					Motor_Stop();
					Suction_Stop();
					Motor_Stop();
					Motor_Stop();
					HAL_Delay(1000);
				}
			} else if (Encorder_number_out() == 5) {		//2700
				if (Sensor_Enter() == 1) {
					Buzzer_Enter();
					Sensor_Start();

					HAL_Delay(1000);
					Suction_Start(70);
					Motor_Setup();
					HAL_Delay(1000);

					Motor_trapezoid_PID(0, 1500, 1500, 20000, 24);
					Suction_change(50);
					Motor_trapezoid_PID(1500, 5500, 2700, 25000, 180 * 14);
					for (int i = 0; i < 7; i++) {
						Suction_change(80);
						Motor_Wallcut_ST(2700, 18, 1);
						Motor_Sula_COS(2700, -88, 2300, 70000);
						Motor_Wallcut_END(2700, 73, 1);
						Suction_change(50);

						Motor_trapezoid_PID(2700, 5500, 2700, 25000, 180 * 13);
					}
					Suction_change(80);
					Motor_Wallcut_ST(2700, 18, 1);
					Motor_Sula_COS(2700, -88, 2300, 70000);
					Motor_Wallcut_END(2700, 73, 1);
					Suction_change(50);
					Motor_trapezoid_PID(2700, 2700, 0, 25000, 180 * 3);
					Motor_Stop();
					Suction_Stop();
					Motor_Stop();
					Motor_Stop();
					HAL_Delay(1000);
				}
			} else if (Encorder_number_out() == 6) {		//3000
				if (Sensor_Enter() == 1) {
					Buzzer_Enter();
					Sensor_Start();

					HAL_Delay(1000);
					Suction_Start(90);
					Motor_Setup();
					HAL_Delay(1000);

					Motor_trapezoid_PID(0, 1500, 1500, 20000, 24);
					Suction_change(90);
					Motor_trapezoid_PID(1500, 5500, 3000, 25000, 180 * 14);
					for (int i = 0; i < 7; i++) {
						Suction_change(90);
						Motor_Wallcut_ST(3000, 5, 1);
						Motor_Sula_COS(3000, -87.5, 2500, 80000);
						Motor_Wallcut_END(3000, 85, 1);
						Suction_change(60);

						Motor_trapezoid_PID(3000, 5500, 3000, 25000, 180 * 13);
					}
					Suction_change(90);
					Motor_Wallcut_ST(3000, 5, 1);
					Motor_Sula_COS(3000, -87.5, 2500, 80000);
					Motor_Wallcut_END(3000, 85, 1);
					Suction_change(50);
					Motor_trapezoid_PID(3000, 3000, 0, 25000, 180 * 3);
					Motor_Stop();
					Suction_Stop();
					Motor_Stop();
					Motor_Stop();
					HAL_Delay(1000);
				}
			} else if (Encorder_number_out() == 7) {		//ALL 3000
				if (Sensor_Enter() == 1) {
					Buzzer_Enter();
					Sensor_Start();

					HAL_Delay(1000);
					Suction_Start(90);
					Motor_Setup();
					HAL_Delay(1000);

					Motor_trapezoid_PID(0, 1500, 1500, 20000, 24);
					Suction_change(90);
					Motor_trapezoid_PID(1500, 6000, 3000, 25000, 180 * 14);
					for (int i = 0; i < 7; i++) {
						Suction_change(90);
						Motor_Wallcut_ST(3000, 5, 1);
						Motor_Sula_COS(3000, -87.5, 2500, 80000);
						Motor_Wallcut_END(3000, 85, 1);
						Suction_change(60);

						Motor_trapezoid_PID(3000, 6000, 3000, 25000, 180 * 13);
					}
					Suction_change(90);
					Motor_Wallcut_ST(3000, 5, 1);
					Motor_Sula_COS(3000, -87.5, 2500, 80000);
					Motor_Wallcut_END(3000, 85, 1);
					Suction_change(50);
					Motor_trapezoid_PID(3000, 3000, 0, 25000, 180 * 3);
					Motor_Stop();
					Suction_Stop();
					Motor_Stop();
					Motor_Stop();
					HAL_Delay(1000);
				}
			}
		}
	}
	/* USER CODE END 3 */
}

void SystemClock_Config(void) {
	RCC_OscInitTypeDef RCC_OscInitStruct = { 0 };
	RCC_ClkInitTypeDef RCC_ClkInitStruct = { 0 };

	/** Configure the main internal regulator output voltage
	 */
	__HAL_RCC_PWR_CLK_ENABLE();
	__HAL_PWR_VOLTAGESCALING_CONFIG(PWR_REGULATOR_VOLTAGE_SCALE1);

	/** Initializes the RCC Oscillators according to the specified parameters
	 * in the RCC_OscInitTypeDef structure.
	 */
	RCC_OscInitStruct.OscillatorType = RCC_OSCILLATORTYPE_HSE;
	RCC_OscInitStruct.HSEState = RCC_HSE_ON;
	RCC_OscInitStruct.PLL.PLLState = RCC_PLL_ON;
	RCC_OscInitStruct.PLL.PLLSource = RCC_PLLSOURCE_HSE;
	RCC_OscInitStruct.PLL.PLLM = 5;
	RCC_OscInitStruct.PLL.PLLN = 180;
	RCC_OscInitStruct.PLL.PLLP = RCC_PLLP_DIV2;
	RCC_OscInitStruct.PLL.PLLQ = 2;
	RCC_OscInitStruct.PLL.PLLR = 2;
	if (HAL_RCC_OscConfig(&RCC_OscInitStruct) != HAL_OK) {
		Error_Handler();
	}

	/** Activate the Over-Drive mode
	 */
	if (HAL_PWREx_EnableOverDrive() != HAL_OK) {
		Error_Handler();
	}

	/** Initializes the CPU, AHB and APB buses clocks
	 */
	RCC_ClkInitStruct.ClockType = RCC_CLOCKTYPE_HCLK | RCC_CLOCKTYPE_SYSCLK
			| RCC_CLOCKTYPE_PCLK1 | RCC_CLOCKTYPE_PCLK2;
	RCC_ClkInitStruct.SYSCLKSource = RCC_SYSCLKSOURCE_PLLCLK;
	RCC_ClkInitStruct.AHBCLKDivider = RCC_SYSCLK_DIV1;
	RCC_ClkInitStruct.APB1CLKDivider = RCC_HCLK_DIV4;
	RCC_ClkInitStruct.APB2CLKDivider = RCC_HCLK_DIV2;

	if (HAL_RCC_ClockConfig(&RCC_ClkInitStruct, FLASH_LATENCY_5) != HAL_OK) {
		Error_Handler();
	}
}

void Error_Handler(void) {
	__disable_irq();
	while (1) {
	}
}
